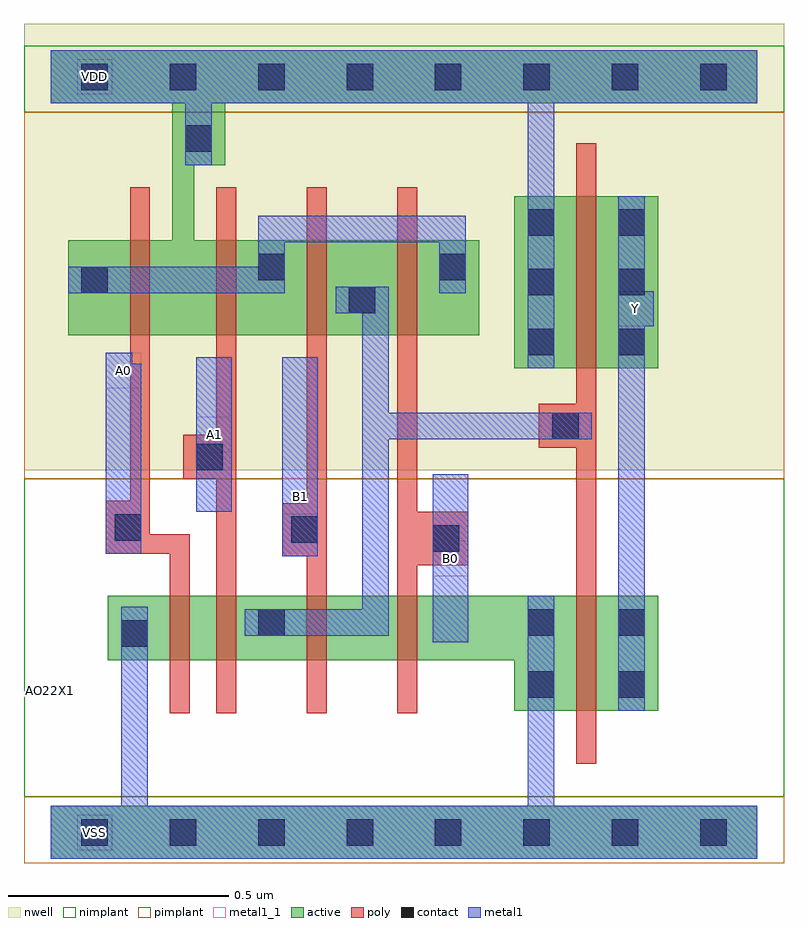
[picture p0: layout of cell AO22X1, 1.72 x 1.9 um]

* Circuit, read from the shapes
.subckt AO22X1 A0 A1 B0 B1 VDD VSS Y
M1 n1 A0 VSS VSS nfet w=0.145u l=0.045u
M2 n2 A1 n1 VSS nfet w=0.145u l=0.045u
M3 n3 B1 n2 VSS nfet w=0.145u l=0.045u
M4 VSS B0 n3 VSS nfet w=0.145u l=0.045u
M5 Y n2 VSS VSS nfet w=0.26u l=0.045u
M6 VDD A0 n4 VDD pfet w=0.215u l=0.045u
M7 n4 A1 VDD VDD pfet w=0.215u l=0.045u
M8 n2 B1 n4 VDD pfet w=0.215u l=0.045u
M9 n4 B0 n2 VDD pfet w=0.215u l=0.045u
M10 Y n2 VDD VDD pfet w=0.39u l=0.045u
.ends

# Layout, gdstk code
import gdstk
lib = gdstk.Library(unit=1e-6, precision=5e-10)
def R(c, l, rs):  # rectangles x0, y0, x1, y1
    for r in rs: c.add(gdstk.rectangle(r[:2], r[2:], *l))
def A(c, l, x, y, w, h, nx, ny, dx, dy):  # array of equal rectangles
    R(c, l, [(x+i*dx, y+j*dy, x+i*dx+w, y+j*dy+h) for i in range(nx) for j in range(ny)])
def P(c, l, *ps):  # polygons
    for p in ps: c.add(gdstk.Polygon(p, *l))
active = (1, 0)
nwell = (2, 0)
poly = (3, 0)
nimplant = (4, 0)
pimplant = (5, 0)
contact = (6, 0)
metal1 = (7, 0)
metal1_1 = (7, 1)

ao22x1 = lib.new_cell('AO22X1')
R(ao22x1, active, [(0,-0.06,1.6,0.06), (1.05,1.05,1.375,1.44)])
P(ao22x1, active, [(0,1.77),(1.6,1.77),(1.6,1.65),(0.395,1.65),(0.395,1.51),(0.325,1.51),(0.325,1.34),(0.97,1.34),(0.97,1.125),(0.04,1.125),(0.04,1.34),(0.275,1.34),(0.275,1.65),(0,1.65)],
  [(0.13,0.535),(1.375,0.535),(1.375,0.275),(1.05,0.275),(1.05,0.39),(0.13,0.39)])
R(ao22x1, nwell, [(-0.06,0.82,1.66,1.83)])
P(ao22x1, poly, [(1.19,1.56),(1.235,1.56),(1.235,0.155),(1.19,0.155),(1.19,0.87),(1.105,0.87),(1.105,0.97),(1.19,0.97)],
  [(0.18,1.46),(0.225,1.46),(0.225,0.675),(0.315,0.675),(0.315,0.27),(0.27,0.27),(0.27,0.63),(0.125,0.63),(0.125,0.75),(0.18,0.75)],
  [(0.42,1.46),(0.375,1.46),(0.375,0.9),(0.3,0.9),(0.3,0.8),(0.375,0.8),(0.375,0.27),(0.42,0.27)],
  [(0.58,1.46),(0.625,1.46),(0.625,0.27),(0.58,0.27),(0.58,0.625),(0.525,0.625),(0.525,0.745),(0.58,0.745)],
  [(0.785,1.46),(0.83,1.46),(0.83,0.725),(0.945,0.725),(0.945,0.605),(0.83,0.605),(0.83,0.27),(0.785,0.27)])
R(ao22x1, nimplant, [(-0.06,0.08,1.66,0.8), (-0.06,1.63,1.66,1.78)])
R(ao22x1, pimplant, [(-0.06,-0.07,1.66,0.08), (-0.06,0.8,1.66,1.63)])
A(ao22x1, contact, 0.07, -0.03, 0.06, 0.06, 8, 2, 0.2, 1.71)
A(ao22x1, contact, 1.08, 1.08, 0.06, 0.06, 1, 3, 0, 0.135)
A(ao22x1, contact, 1.285, 1.08, 0.06, 0.06, 1, 3, 0, 0.135)
R(ao22x1, contact, [(1.08,0.305,1.14,0.365), (1.285,0.305,1.345,0.365), (0.16,0.42,0.22,0.48), (0.47,0.445,0.53,0.505), (1.08,0.445,1.14,0.505), (1.285,0.445,1.345,0.505), (0.865,0.635,0.925,0.695), (0.545,0.655,0.605,0.715), (0.145,0.66,0.205,0.72), (0.33,0.82,0.39,0.88), (1.135,0.89,1.195,0.95), (0.675,1.175,0.735,1.235), (0.07,1.22,0.13,1.28), (0.47,1.25,0.53,1.31), (0.88,1.25,0.94,1.31), (0.305,1.54,0.365,1.6)])
R(ao22x1, metal1, [(0.865,0.43,0.945,0.81), (0.525,0.625,0.605,1.075), (0.33,0.725,0.41,1.075)])
P(ao22x1, metal1, [(0,1.77),(1.6,1.77),(1.6,1.65),(1.14,1.65),(1.14,1.05),(1.08,1.05),(1.08,1.65),(0.365,1.65),(0.365,1.51),(0.305,1.51),(0.305,1.65),(0,1.65)],
  [(1.285,1.44),(1.345,1.44),(1.345,1.225),(1.365,1.225),(1.365,1.145),(1.345,1.145),(1.345,0.275),(1.285,0.275)],
  [(0.47,1.395),(0.94,1.395),(0.94,1.22),(0.88,1.22),(0.88,1.335),(0.53,1.335),(0.53,1.22),(0.04,1.22),(0.04,1.28),(0.47,1.28)],
  [(0.645,1.235),(0.765,1.235),(0.765,0.95),(1.225,0.95),(1.225,0.89),(0.765,0.89),(0.765,0.445),(0.44,0.445),(0.44,0.505),(0.705,0.505),(0.705,1.175),(0.645,1.175)],
  [(0.125,1.085),(0.185,1.085),(0.185,1.06),(0.205,1.06),(0.205,0.63),(0.125,0.63)],
  [(0.16,0.51),(0.22,0.51),(0.22,0.06),(1.08,0.06),(1.08,0.535),(1.14,0.535),(1.14,0.06),(1.6,0.06),(1.6,-0.06),(0,-0.06),(0,0.06),(0.16,0.06)])
R(ao22x1, metal1_1, [(0.06,-0.04,0.14,0.04), (0.865,0.58,0.945,0.66), (0.525,0.72,0.605,0.8), (0.33,0.86,0.41,0.94), (0.125,1.005,0.205,1.085), (1.285,1.145,1.365,1.225), (0.06,1.67,0.14,1.75)])
ao22x1.add(gdstk.Label('A1', (0.37,0.9), layer=7, texttype=1))
ao22x1.add(gdstk.Label('VSS', (0.1,0), layer=7, texttype=1))
ao22x1.add(gdstk.Label('Y', (1.325,1.185), layer=7, texttype=1))
ao22x1.add(gdstk.Label('B0', (0.905,0.62), layer=7, texttype=1))
ao22x1.add(gdstk.Label('A0', (0.165,1.045), layer=7, texttype=1))
ao22x1.add(gdstk.Label('B1', (0.565,0.76), layer=7, texttype=1))
ao22x1.add(gdstk.Label('VDD', (0.1,1.71), layer=7, texttype=1))
ao22x1.add(gdstk.Label('AO22X1', (0,0.32), layer=63, texttype=0))

lib.write_gds('AO22X1.gds')
